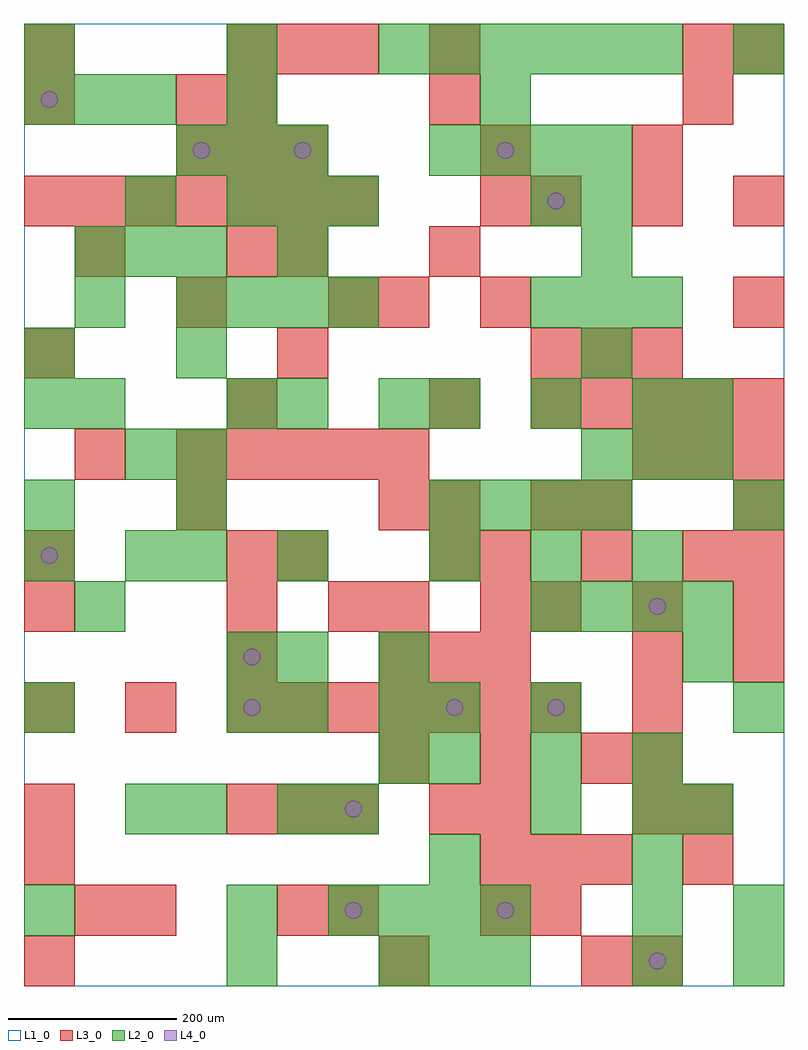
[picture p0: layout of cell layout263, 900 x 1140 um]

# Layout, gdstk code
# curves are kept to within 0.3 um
import gdstk
lib = gdstk.Library(unit=1e-6, precision=1e-09)
def R(c, l, rs):  # rectangles x0, y0, x1, y1
    for r in rs: c.add(gdstk.rectangle(r[:2], r[2:], *l))
def A(c, l, x, y, w, h, nx, ny, dx, dy):  # array of equal rectangles
    R(c, l, [(x+i*dx, y+j*dy, x+i*dx+w, y+j*dy+h) for i in range(nx) for j in range(ny)])
def P(c, l, *ps):  # polygons
    for p in ps: c.add(gdstk.Polygon(p, *l))
L1_0 = (1, 0)
L2_0 = (2, 0)
L3_0 = (3, 0)
L4_0 = (4, 0)

layout263 = lib.new_cell('layout263')
R(layout263, L1_0, [(0,0,900,1140)])
A(layout263, L2_0, 420, 0, 60, 60, 3, 1, 60, 0)
A(layout263, L2_0, 720, 0, 60, 60, 1, 4, 0, 60)
A(layout263, L2_0, 360, 60, 60, 60, 4, 1, 60, 0)
A(layout263, L2_0, 840, 60, 60, 60, 1, 3, 0, 240)
A(layout263, L2_0, 420, 240, 60, 60, 1, 3, 0, 60)
A(layout263, L2_0, 480, 240, 60, 60, 3, 2, 120, 240)
A(layout263, L2_0, 600, 420, 60, 60, 4, 1, 60, 0)
A(layout263, L2_0, 180, 480, 60, 60, 1, 3, 0, 60)
A(layout263, L2_0, 300, 480, 60, 60, 1, 3, 0, 180)
A(layout263, L2_0, 480, 540, 60, 60, 4, 2, 60, 420)
A(layout263, L2_0, 660, 600, 60, 60, 3, 1, 60, 0)
A(layout263, L2_0, 480, 660, 60, 60, 3, 1, 120, 0)
A(layout263, L2_0, 180, 780, 60, 60, 4, 1, 60, 0)
A(layout263, L2_0, 600, 780, 60, 60, 3, 1, 60, 0)
A(layout263, L2_0, 60, 840, 60, 60, 3, 1, 60, 0)
A(layout263, L2_0, 240, 900, 60, 60, 3, 1, 60, 0)
A(layout263, L2_0, 180, 960, 60, 60, 3, 1, 60, 0)
A(layout263, L2_0, 0, 1020, 60, 60, 3, 1, 60, 0)
A(layout263, L2_0, 420, 1080, 60, 60, 6, 1, 60, 0)
R(layout263, L2_0, [(240,0,300,60), (840,0,900,60), (0,60,60,120), (240,60,300,120), (480,120,540,180), (120,180,180,240), (180,180,240,240), (300,180,360,240), (360,180,420,240), (600,180,660,240), (780,180,840,240), (0,300,60,360), (240,300,300,360), (300,300,360,360), (480,300,540,360), (600,300,660,360), (240,360,300,420), (300,360,360,420), (780,360,840,420), (60,420,120,480), (0,480,60,540), (120,480,180,540), (0,540,60,600), (120,600,180,660), (0,660,60,720), (60,660,120,720), (240,660,300,720), (420,660,480,720), (780,660,840,720), (0,720,60,780), (180,720,240,780), (660,720,720,780), (60,780,120,840), (660,840,720,900), (120,900,180,960), (600,900,660,960), (660,900,720,960), (240,1020,300,1080), (540,1020,600,1080), (0,1080,60,1140), (240,1080,300,1140), (840,1080,900,1140)])
A(layout263, L3_0, 360, 60, 60, 60, 1, 3, 0, 360)
A(layout263, L3_0, 540, 120, 60, 60, 3, 1, 60, 0)
A(layout263, L3_0, 240, 180, 60, 60, 3, 2, 60, 900)
A(layout263, L3_0, 720, 180, 60, 60, 1, 4, 0, 60)
A(layout263, L3_0, 420, 240, 60, 60, 3, 1, 120, 0)
A(layout263, L3_0, 0, 300, 60, 60, 3, 1, 120, 0)
A(layout263, L3_0, 300, 300, 60, 60, 6, 1, 60, 0)
A(layout263, L3_0, 240, 360, 60, 60, 1, 3, 0, 60)
A(layout263, L3_0, 420, 360, 60, 60, 3, 1, 60, 0)
A(layout263, L3_0, 600, 420, 60, 60, 3, 2, 120, 480)
A(layout263, L3_0, 540, 480, 60, 60, 3, 1, 120, 0)
A(layout263, L3_0, 180, 540, 60, 60, 1, 3, 0, 240)
A(layout263, L3_0, 180, 600, 60, 60, 5, 1, 60, 0)
A(layout263, L3_0, 720, 600, 60, 60, 3, 1, 60, 0)
A(layout263, L3_0, 240, 660, 60, 60, 1, 3, 0, 180)
A(layout263, L3_0, 480, 660, 60, 60, 1, 3, 0, 180)
A(layout263, L3_0, 600, 660, 60, 60, 5, 1, 60, 0)
A(layout263, L3_0, 0, 720, 60, 60, 3, 1, 300, 0)
A(layout263, L3_0, 0, 900, 60, 60, 7, 1, 60, 0)
A(layout263, L3_0, 180, 960, 60, 60, 3, 1, 60, 0)
R(layout263, L3_0, [(0,0,60,60), (420,0,480,60), (660,0,720,60), (720,0,780,60), (60,60,120,120), (120,60,180,120), (300,60,360,120), (540,60,600,120), (600,60,660,120), (0,120,60,180), (780,120,840,180), (0,180,60,240), (480,180,540,240), (540,180,600,240), (780,180,840,240), (840,360,900,420), (0,420,60,480), (420,420,480,480), (540,420,600,480), (0,480,60,540), (300,480,360,540), (480,480,540,540), (840,480,900,540), (420,540,480,600), (480,540,540,600), (600,540,660,600), (660,540,720,600), (840,540,900,600), (60,600,120,660), (660,720,720,780), (720,720,780,780), (420,780,480,840), (540,780,600,840), (840,780,900,840), (60,840,120,900), (300,840,360,900), (540,900,600,960), (540,960,600,1020), (720,960,780,1020), (0,1020,60,1080), (780,1020,840,1080), (0,1080,60,1140), (480,1080,540,1140), (780,1080,840,1140), (840,1080,900,1140)])
P(layout263, L4_0, [(40,510),(39.239,513.827),(37.071,517.071),(33.827,519.239),(30,520),(26.173,519.239),(22.929,517.071),(20.761,513.827),(20,510),(20.761,506.173),(22.929,502.929),(26.173,500.761),(30,500),(33.827,500.761),(37.071,502.929),(39.239,506.173)],
  [(40,1050),(39.239,1053.827),(37.071,1057.071),(33.827,1059.239),(30,1060),(26.173,1059.239),(22.929,1057.071),(20.761,1053.827),(20,1050),(20.761,1046.173),(22.929,1042.929),(26.173,1040.761),(30,1040),(33.827,1040.761),(37.071,1042.929),(39.239,1046.173)],
  [(220,990),(219.239,993.827),(217.071,997.071),(213.827,999.239),(210,1000),(206.173,999.239),(202.929,997.071),(200.761,993.827),(200,990),(200.761,986.173),(202.929,982.929),(206.173,980.761),(210,980),(213.827,980.761),(217.071,982.929),(219.239,986.173)],
  [(280,330),(279.239,333.827),(277.071,337.071),(273.827,339.239),(270,340),(266.173,339.239),(262.929,337.071),(260.761,333.827),(260,330),(260.761,326.173),(262.929,322.929),(266.173,320.761),(270,320),(273.827,320.761),(277.071,322.929),(279.239,326.173)],
  [(280,390),(279.239,393.827),(277.071,397.071),(273.827,399.239),(270,400),(266.173,399.239),(262.929,397.071),(260.761,393.827),(260,390),(260.761,386.173),(262.929,382.929),(266.173,380.761),(270,380),(273.827,380.761),(277.071,382.929),(279.239,386.173)],
  [(340,990),(339.239,993.827),(337.071,997.071),(333.827,999.239),(330,1000),(326.173,999.239),(322.929,997.071),(320.761,993.827),(320,990),(320.761,986.173),(322.929,982.929),(326.173,980.761),(330,980),(333.827,980.761),(337.071,982.929),(339.239,986.173)],
  [(400,90),(399.239,93.827),(397.071,97.071),(393.827,99.239),(390,100),(386.173,99.239),(382.929,97.071),(380.761,93.827),(380,90),(380.761,86.173),(382.929,82.929),(386.173,80.761),(390,80),(393.827,80.761),(397.071,82.929),(399.239,86.173)],
  [(400,210),(399.239,213.827),(397.071,217.071),(393.827,219.239),(390,220),(386.173,219.239),(382.929,217.071),(380.761,213.827),(380,210),(380.761,206.173),(382.929,202.929),(386.173,200.761),(390,200),(393.827,200.761),(397.071,202.929),(399.239,206.173)],
  [(520,330),(519.239,333.827),(517.071,337.071),(513.827,339.239),(510,340),(506.173,339.239),(502.929,337.071),(500.761,333.827),(500,330),(500.761,326.173),(502.929,322.929),(506.173,320.761),(510,320),(513.827,320.761),(517.071,322.929),(519.239,326.173)],
  [(580,90),(579.239,93.827),(577.071,97.071),(573.827,99.239),(570,100),(566.173,99.239),(562.929,97.071),(560.761,93.827),(560,90),(560.761,86.173),(562.929,82.929),(566.173,80.761),(570,80),(573.827,80.761),(577.071,82.929),(579.239,86.173)],
  [(580,990),(579.239,993.827),(577.071,997.071),(573.827,999.239),(570,1000),(566.173,999.239),(562.929,997.071),(560.761,993.827),(560,990),(560.761,986.173),(562.929,982.929),(566.173,980.761),(570,980),(573.827,980.761),(577.071,982.929),(579.239,986.173)],
  [(640,330),(639.239,333.827),(637.071,337.071),(633.827,339.239),(630,340),(626.173,339.239),(622.929,337.071),(620.761,333.827),(620,330),(620.761,326.173),(622.929,322.929),(626.173,320.761),(630,320),(633.827,320.761),(637.071,322.929),(639.239,326.173)],
  [(640,930),(639.239,933.827),(637.071,937.071),(633.827,939.239),(630,940),(626.173,939.239),(622.929,937.071),(620.761,933.827),(620,930),(620.761,926.173),(622.929,922.929),(626.173,920.761),(630,920),(633.827,920.761),(637.071,922.929),(639.239,926.173)],
  [(760,30),(759.239,33.827),(757.071,37.071),(753.827,39.239),(750,40),(746.173,39.239),(742.929,37.071),(740.761,33.827),(740,30),(740.761,26.173),(742.929,22.929),(746.173,20.761),(750,20),(753.827,20.761),(757.071,22.929),(759.239,26.173)],
  [(760,450),(759.239,453.827),(757.071,457.071),(753.827,459.239),(750,460),(746.173,459.239),(742.929,457.071),(740.761,453.827),(740,450),(740.761,446.173),(742.929,442.929),(746.173,440.761),(750,440),(753.827,440.761),(757.071,442.929),(759.239,446.173)])

lib.write_gds('layout263.gds')
